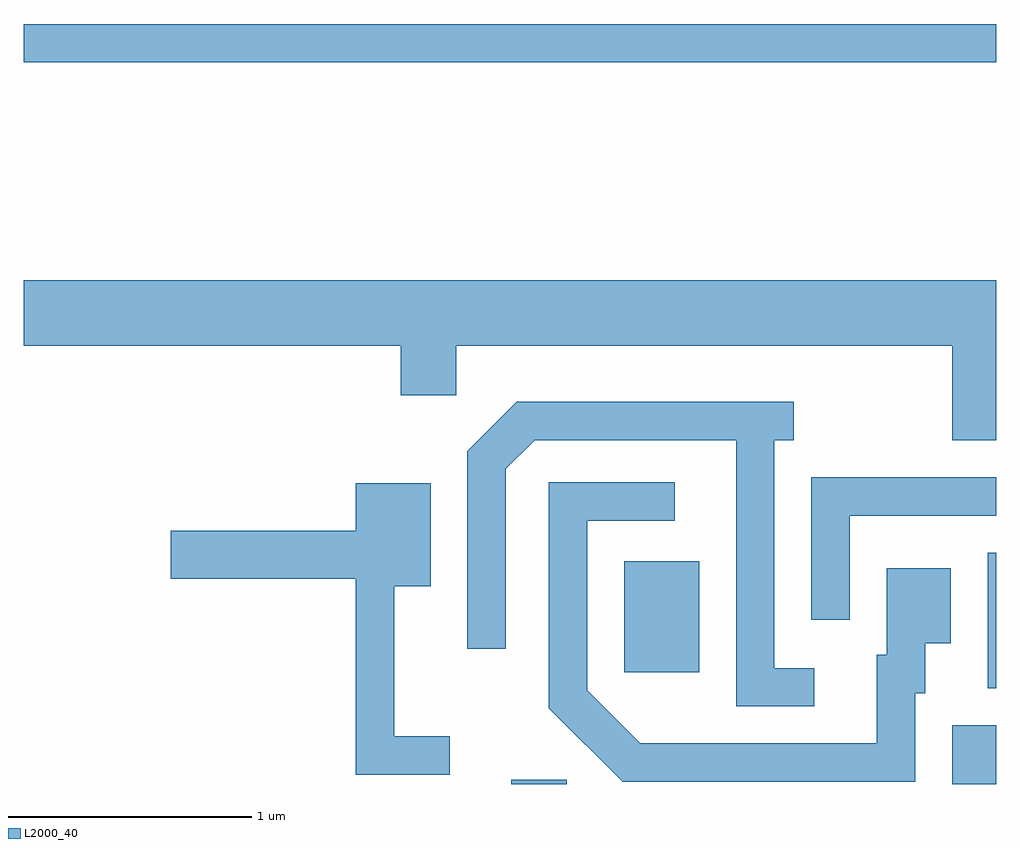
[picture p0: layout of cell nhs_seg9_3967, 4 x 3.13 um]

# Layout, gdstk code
import gdstk
lib = gdstk.Library(unit=1e-6, precision=1e-09)
def R(c, l, rs):  # rectangles x0, y0, x1, y1
    for r in rs: c.add(gdstk.rectangle(r[:2], r[2:], *l))
def P(c, l, *ps):  # polygons
    for p in ps: c.add(gdstk.Polygon(p, *l))
L2000_40 = (2000, 40)

nhs_seg9_3967 = lib.new_cell('nhs_seg9_3967')
R(nhs_seg9_3967, L2000_40, [(303.616,2014.432,303.844,2014.449), (305.431,2014.432,305.611,2014.674), (305.576,2014.826,305.611,2015.384), (304.081,2014.891,304.389,2015.349), (301.611,2017.401,305.611,2017.559)])
P(nhs_seg9_3967, L2000_40, [(305.611,2016.504),(301.611,2016.504),(301.611,2016.236),(303.161,2016.236),(303.161,2016.031),(303.389,2016.031),(303.389,2016.236),(305.431,2016.236),(305.431,2015.846),(305.611,2015.846)],
  [(304.863,2014.909),(304.699,2014.909),(304.699,2015.846),(304.778,2015.846),(304.778,2016.004),(303.639,2016.004),(303.436,2015.802),(303.436,2014.988),(303.594,2014.988),(303.594,2015.729),(303.712,2015.846),(304.541,2015.846),(304.541,2014.751),(304.863,2014.751)],
  [(305.009,2015.536),(305.611,2015.536),(305.611,2015.694),(304.851,2015.694),(304.851,2015.108),(305.009,2015.108)],
  [(305.279,2014.806),(305.319,2014.806),(305.319,2015.011),(305.424,2015.011),(305.424,2015.319),(305.161,2015.319),(305.161,2014.964),(305.121,2014.964),(305.121,2014.599),(304.147,2014.599),(303.929,2014.817),(303.929,2015.516),(304.288,2015.516),(304.288,2015.674),(303.771,2015.674),(303.771,2014.744),(304.074,2014.441),(305.279,2014.441)],
  [(303.363,2014.629),(303.134,2014.629),(303.134,2015.246),(303.284,2015.246),(303.284,2015.669),(302.976,2015.669),(302.976,2015.474),(302.216,2015.474),(302.216,2015.276),(302.976,2015.276),(302.976,2014.471),(303.363,2014.471)])

lib.write_gds('nhs_seg9_3967.gds')
